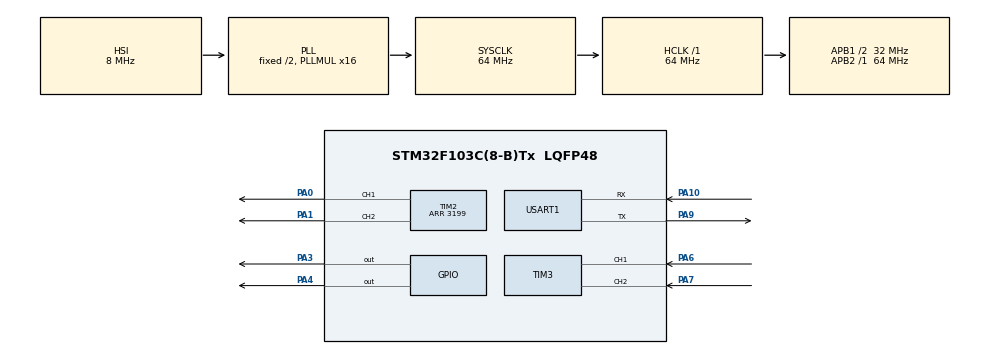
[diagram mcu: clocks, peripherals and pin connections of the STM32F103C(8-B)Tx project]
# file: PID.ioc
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Mcu.Family=STM32F1
Mcu.Name=STM32F103C(8-B)Tx
Mcu.Package=LQFP48
NVIC.PriorityGroup=NVIC_PRIORITYGROUP_4
NVIC.TIM4_IRQn=true\:1\:0\:true\:false\:true\:true\:true\:true
NVIC.USART1_IRQn=true\:2\:0\:true\:false\:true\:true\:true\:true
PA0-WKUP.Signal=S_TIM2_CH1_ETR
PA1.Signal=S_TIM2_CH2
PA10.Mode=Asynchronous
PA10.Signal=USART1_RX
PA13.Mode=Serial_Wire
PA13.Signal=SYS_JTMS-SWDIO
PA14.Mode=Serial_Wire
PA14.Signal=SYS_JTCK-SWCLK
PA3.Signal=GPIO_Output
PA4.Signal=GPIO_Output
PA6.Signal=S_TIM3_CH1
PA7.Signal=S_TIM3_CH2
PA9.Mode=Asynchronous
PA9.Signal=USART1_TX
ProjectManager.HeapSize=0x200
ProjectManager.StackSize=0x400
ProjectManager.TargetToolchain=STM32CubeIDE
RCC.AHBFreq_Value=64000000
RCC.APB1CLKDivider=RCC_HCLK_DIV2
RCC.APB1Freq_Value=32000000
RCC.APB1TimFreq_Value=64000000
RCC.APB2Freq_Value=64000000
RCC.APB2TimFreq_Value=64000000
RCC.HCLKFreq_Value=64000000
RCC.PLLMUL=RCC_PLL_MUL16
RCC.SYSCLKFreq_VALUE=64000000
RCC.SYSCLKSource=RCC_SYSCLKSOURCE_PLLCLK
RCC.USBFreq_Value=64000000
SH.S_TIM2_CH1_ETR.0=TIM2_CH1,PWM Generation1 CH1
SH.S_TIM2_CH2.0=TIM2_CH2,PWM Generation2 CH2
SH.S_TIM3_CH1.0=TIM3_CH1,Encoder_Interface
SH.S_TIM3_CH2.0=TIM3_CH2,Encoder_Interface
TIM2.Channel-PWM\ Generation1\ CH1=TIM_CHANNEL_1
TIM2.Channel-PWM\ Generation2\ CH2=TIM_CHANNEL_2
TIM2.Period=3199
TIM3.EncoderMode=TIM_ENCODERMODE_TI12
TIM4.Period=99
TIM4.Prescaler=6399
USART1.VirtualMode=VM_ASYNC
VP_TIM2_VS_ClockSourceINT.Mode=Internal
VP_TIM4_VS_ClockSourceINT.Mode=Internal
board=custom

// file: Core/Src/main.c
/* USER CODE BEGIN Header */
/**
  ******************************************************************************
  * @file           : main.c
  * @brief          : Main program body
  ******************************************************************************
  * @attention
  *
  * Copyright (c) 2026 STMicroelectronics.
  * All rights reserved.
  *
  * This software is licensed under terms that can be found in the LICENSE file
  * in the root directory of this software component.
  * If no LICENSE file comes with this software, it is provided AS-IS.
  *
  ******************************************************************************
  */
/* USER CODE END Header */
#include "main.h"
#include "stdlib.h"
#include "stdio.h"
#include "string.h"

TIM_HandleTypeDef htim2;
TIM_HandleTypeDef htim3;
TIM_HandleTypeDef htim4;

UART_HandleTypeDef huart1;

/* USER CODE BEGIN PV */
typedef struct {
    float Kp, Ki, Kd;
    float integral;
    float prev_error;
    float integral_limit;
    float output_limit;
} PID_t;

PID_t motor_pid;

volatile float target_rpm  = 0.0f;
volatile float current_rpm = 0.0f;

static uint8_t send_tick = 0;

static uint8_t  rx_byte;                // buffer 1 byte cho HAL_UART_Receive_IT
static char     rx_line[64];            // tích lũy từng ký tự
static uint8_t  rx_idx = 0;            // con trỏ vào rx_line

#define ENCODER_PPR  330
#define PID_DT       0.01f    // 10ms

/* USER CODE END PV */

void SystemClock_Config(void);
static void MX_GPIO_Init(void);
static void MX_TIM2_Init(void);
static void MX_TIM3_Init(void);
static void MX_USART1_UART_Init(void);
static void MX_TIM4_Init(void);

/* USER CODE BEGIN 0 */
#define MAX_RPM 333
#define PWM_MAX 3199

void setMotorRPM(int rpm)
{
    if (rpm > MAX_RPM) rpm = MAX_RPM;
    if (rpm < -MAX_RPM) rpm = -MAX_RPM;

    int pwm = (abs(rpm) * PWM_MAX) / MAX_RPM;

    if (rpm > 0)		// quay thuan chieu
    {
        __HAL_TIM_SET_COMPARE(&htim2, TIM_CHANNEL_1, pwm);
        __HAL_TIM_SET_COMPARE(&htim2, TIM_CHANNEL_2, 0);
    }
    else if (rpm < 0)	// quay nguoc chieu
    {
        __HAL_TIM_SET_COMPARE(&htim2, TIM_CHANNEL_1, 0);
        __HAL_TIM_SET_COMPARE(&htim2, TIM_CHANNEL_2, pwm);
    }
    else
    {
        __HAL_TIM_SET_COMPARE(&htim2, TIM_CHANNEL_1, 0);
        __HAL_TIM_SET_COMPARE(&htim2, TIM_CHANNEL_2, 0);
    }
}

void PID_Init(PID_t *pid, float Kp, float Ki, float Kd,
              float integral_limit, float output_limit)
{
    pid->Kp             = Kp;
    pid->Ki             = Ki;
    pid->Kd             = Kd;
    pid->integral       = 0.0f;
    pid->prev_error     = 0.0f;
    pid->integral_limit = integral_limit;
    pid->output_limit   = output_limit;
}

float PID_Compute(PID_t *pid, float error, float dt)
{
	// Phan P
    float P = pid->Kp * error;

    // Phan I
    pid->integral += error * dt;
    if (pid->integral >  pid->integral_limit)
    	pid->integral =  pid->integral_limit;
    else if (pid->integral < -pid->integral_limit)
    	pid->integral = -pid->integral_limit;
    float I = pid->Ki * pid->integral;

    // Phan D
    float D = pid->Kd * (error - pid->prev_error) / dt;
    pid->prev_error = error;

    float output = P + I + D;
    if      (output >  pid->output_limit) output =  pid->output_limit;
    else if (output < -pid->output_limit) output = -pid->output_limit;

    return output;
}

/* ── Đọc encoder → RPM ──────────────────────────────────────────────────── */
float Encoder_ReadRPM(void)
{
    // TIM3 Encoder Mode TI12: đếm cả 2 cạnh A và B → ×4
    int16_t count = (int16_t)__HAL_TIM_GET_COUNTER(&htim3);
    __HAL_TIM_SET_COUNTER(&htim3, 0);

    // count = số xung trong 10ms
    // RPM = (count / (PPR×4)) / dt * 60
    return ((float)count / (ENCODER_PPR * 4)) / PID_DT * 60.0f;
}

static void UART_ParseLine(char *line)
{
//    char *colon = strchr(line, ':');
//    if (colon == NULL) return;
//
//    *colon       = '\0';
//    char  *tag   = line;
//    float  value = (float)atof(colon + 1);
//
//    char ack[48];
//    int  ack_len = 0;
//
//    if (strcasecmp(tag, "SP") == 0)
//    {
//        /* Clamp về dải an toàn */
//        if (value >  MAX_RPM) value =  MAX_RPM;
//        if (value < -MAX_RPM) value = -MAX_RPM;
//        target_rpm = value;
//        ack_len = sprintf(ack, "OK SP:%d\n", target_rpm);
//    }
//    else
//    {
//        /* Từ chối mọi lệnh khác — Kp/Ki/Kd cố định trong firmware */
//        ack_len = sprintf(ack, "ERR only SP accepted\n");
//    }
//
//    if (ack_len > 0)
//        HAL_UART_Transmit(&huart1, (uint8_t *)ack, ack_len, 20);
	int val;

	    // In ra để xem thực tế nhận gì
	    printf("PARSE: [%s]\n", line);

	    // Cách parse chắc chắn đúng
	    if (strncmp(line, "SP:", 3) == 0)
	    {
	        val = atoi(&line[3]);   // lấy từ sau "SP:"
	        target_rpm = val;

	        printf("OK SP:%d\n", val);
	    }
}

void HAL_UART_RxCpltCallback(UART_HandleTypeDef *huart)
{
    if (huart == &huart1)
    {
        char c = (char)rx_byte;

        if (c == '\n' || c == '\r')
        {
            if (rx_idx > 0)
            {
                rx_line[rx_idx] = '\0';
                UART_ParseLine(rx_line);
                rx_idx = 0;
                memset(rx_line, 0, sizeof(rx_line));
            }
        }
        else
        {
            if (rx_idx < sizeof(rx_line) - 1)
                rx_line[rx_idx++] = c;
            else
                rx_idx = 0;   // tràn buffer → reset
        }

        HAL_UART_Receive_IT(&huart1, &rx_byte, 1);
    }
}
/* USER CODE END 0 */

int main(void)
{

  /* MCU Configuration--------------------------------------------------------*/

  /* Reset of all peripherals, Initializes the Flash interface and the Systick. */
  HAL_Init();

  /* Configure the system clock */
  SystemClock_Config();

  /* Initialize all configured peripherals */
  MX_GPIO_Init();
  MX_TIM2_Init();
  MX_TIM3_Init();
  MX_USART1_UART_Init();
  MX_TIM4_Init();
  /* USER CODE BEGIN 2 */
  HAL_TIM_PWM_Start(&htim2, TIM_CHANNEL_1); // RPWM
  HAL_TIM_PWM_Start(&htim2, TIM_CHANNEL_2); // LPWM
  HAL_GPIO_WritePin(GPIOA, GPIO_PIN_3, GPIO_PIN_SET);
  HAL_GPIO_WritePin(GPIOA, GPIO_PIN_4, GPIO_PIN_SET);

  // Khởi động encoder
  HAL_TIM_Encoder_Start(&htim3, TIM_CHANNEL_ALL);

  // Khởi PID — output_limit = MAX_RPM (đơn vị RPM)
      PID_Init(&motor_pid,
          /* Kp */ 4.0f,
          /* Ki */ 5.0f,
          /* Kd */ 0.05f,
          666.0f,   // max_integral = Max_rpm / Ki
          333.0f);  // MAX_RPM

      // Bắt đầu nhận UART interrupt

      HAL_NVIC_SetPriority(TIM4_IRQn, 0, 0);
      HAL_NVIC_EnableIRQ(TIM4_IRQn);
      HAL_TIM_Base_Start_IT(&htim4);
      HAL_UART_Receive_IT(&huart1, &rx_byte, 1);
  /* USER CODE END 2 */

  /* Infinite loop */
  while (1)
  {

  }
}

void SystemClock_Config(void)
{
  RCC_OscInitTypeDef RCC_OscInitStruct = {0};
  RCC_ClkInitTypeDef RCC_ClkInitStruct = {0};

  /** Initializes the RCC Oscillators according to the specified parameters
  * in the RCC_OscInitTypeDef structure.
  */
  RCC_OscInitStruct.OscillatorType = RCC_OSCILLATORTYPE_HSI;
  RCC_OscInitStruct.HSIState = RCC_HSI_ON;
  RCC_OscInitStruct.HSICalibrationValue = RCC_HSICALIBRATION_DEFAULT;
  RCC_OscInitStruct.PLL.PLLState = RCC_PLL_ON;
  RCC_OscInitStruct.PLL.PLLSource = RCC_PLLSOURCE_HSI_DIV2;
  RCC_OscInitStruct.PLL.PLLMUL = RCC_PLL_MUL16;
  if (HAL_RCC_OscConfig(&RCC_OscInitStruct) != HAL_OK)
  {
    Error_Handler();
  }

  /** Initializes the CPU, AHB and APB buses clocks
  */
  RCC_ClkInitStruct.ClockType = RCC_CLOCKTYPE_HCLK|RCC_CLOCKTYPE_SYSCLK
                              |RCC_CLOCKTYPE_PCLK1|RCC_CLOCKTYPE_PCLK2;
  RCC_ClkInitStruct.SYSCLKSource = RCC_SYSCLKSOURCE_PLLCLK;
  RCC_ClkInitStruct.AHBCLKDivider = RCC_SYSCLK_DIV1;
  RCC_ClkInitStruct.APB1CLKDivider = RCC_HCLK_DIV2;
  RCC_ClkInitStruct.APB2CLKDivider = RCC_HCLK_DIV1;

  if (HAL_RCC_ClockConfig(&RCC_ClkInitStruct, FLASH_LATENCY_2) != HAL_OK)
  {
    Error_Handler();
  }
}

static void MX_TIM2_Init(void)
{

  TIM_ClockConfigTypeDef sClockSourceConfig = {0};
  TIM_MasterConfigTypeDef sMasterConfig = {0};
  TIM_OC_InitTypeDef sConfigOC = {0};

  htim2.Instance = TIM2;
  htim2.Init.Prescaler = 0;
  htim2.Init.CounterMode = TIM_COUNTERMODE_UP;
  htim2.Init.Period = 3199;
  htim2.Init.ClockDivision = TIM_CLOCKDIVISION_DIV1;
  htim2.Init.AutoReloadPreload = TIM_AUTORELOAD_PRELOAD_DISABLE;
  if (HAL_TIM_Base_Init(&htim2) != HAL_OK)
  {
    Error_Handler();
  }
  sClockSourceConfig.ClockSource = TIM_CLOCKSOURCE_INTERNAL;
  if (HAL_TIM_ConfigClockSource(&htim2, &sClockSourceConfig) != HAL_OK)
  {
    Error_Handler();
  }
  if (HAL_TIM_PWM_Init(&htim2) != HAL_OK)
  {
    Error_Handler();
  }
  sMasterConfig.MasterOutputTrigger = TIM_TRGO_RESET;
  sMasterConfig.MasterSlaveMode = TIM_MASTERSLAVEMODE_DISABLE;
  if (HAL_TIMEx_MasterConfigSynchronization(&htim2, &sMasterConfig) != HAL_OK)
  {
    Error_Handler();
  }
  sConfigOC.OCMode = TIM_OCMODE_PWM1;
  sConfigOC.Pulse = 0;
  sConfigOC.OCPolarity = TIM_OCPOLARITY_HIGH;
  sConfigOC.OCFastMode = TIM_OCFAST_DISABLE;
  if (HAL_TIM_PWM_ConfigChannel(&htim2, &sConfigOC, TIM_CHANNEL_1) != HAL_OK)
  {
    Error_Handler();
  }
  if (HAL_TIM_PWM_ConfigChannel(&htim2, &sConfigOC, TIM_CHANNEL_2) != HAL_OK)
  {
    Error_Handler();
  }
  HAL_TIM_MspPostInit(&htim2);

}

static void MX_TIM3_Init(void)
{

  TIM_Encoder_InitTypeDef sConfig = {0};
  TIM_MasterConfigTypeDef sMasterConfig = {0};

  htim3.Instance = TIM3;
  htim3.Init.Prescaler = 0;
  htim3.Init.CounterMode = TIM_COUNTERMODE_UP;
  htim3.Init.Period = 65535;
  htim3.Init.ClockDivision = TIM_CLOCKDIVISION_DIV1;
  htim3.Init.AutoReloadPreload = TIM_AUTORELOAD_PRELOAD_DISABLE;
  sConfig.EncoderMode = TIM_ENCODERMODE_TI12;
  sConfig.IC1Polarity = TIM_ICPOLARITY_RISING;
  sConfig.IC1Selection = TIM_ICSELECTION_DIRECTTI;
  sConfig.IC1Prescaler = TIM_ICPSC_DIV1;
  sConfig.IC1Filter = 0;
  sConfig.IC2Polarity = TIM_ICPOLARITY_RISING;
  sConfig.IC2Selection = TIM_ICSELECTION_DIRECTTI;
  sConfig.IC2Prescaler = TIM_ICPSC_DIV1;
  sConfig.IC2Filter = 0;
  if (HAL_TIM_Encoder_Init(&htim3, &sConfig) != HAL_OK)
  {
    Error_Handler();
  }
  sMasterConfig.MasterOutputTrigger = TIM_TRGO_RESET;
  sMasterConfig.MasterSlaveMode = TIM_MASTERSLAVEMODE_DISABLE;
  if (HAL_TIMEx_MasterConfigSynchronization(&htim3, &sMasterConfig) != HAL_OK)
  {
    Error_Handler();
  }

}

static void MX_TIM4_Init(void)
{

  TIM_ClockConfigTypeDef sClockSourceConfig = {0};
  TIM_MasterConfigTypeDef sMasterConfig = {0};

  htim4.Instance = TIM4;
  htim4.Init.Prescaler = 6399;
  htim4.Init.CounterMode = TIM_COUNTERMODE_UP;
  htim4.Init.Period = 99;
  htim4.Init.ClockDivision = TIM_CLOCKDIVISION_DIV1;
  htim4.Init.AutoReloadPreload = TIM_AUTORELOAD_PRELOAD_DISABLE;
  if (HAL_TIM_Base_Init(&htim4) != HAL_OK)
  {
    Error_Handler();
  }
  sClockSourceConfig.ClockSource = TIM_CLOCKSOURCE_INTERNAL;
  if (HAL_TIM_ConfigClockSource(&htim4, &sClockSourceConfig) != HAL_OK)
  {
    Error_Handler();
  }
  sMasterConfig.MasterOutputTrigger = TIM_TRGO_RESET;
  sMasterConfig.MasterSlaveMode = TIM_MASTERSLAVEMODE_DISABLE;
  if (HAL_TIMEx_MasterConfigSynchronization(&htim4, &sMasterConfig) != HAL_OK)
  {
    Error_Handler();
  }
  /* USER CODE BEGIN TIM4_Init 2 */
  HAL_NVIC_SetPriority(TIM4_IRQn, 0, 0);
  HAL_NVIC_EnableIRQ(TIM4_IRQn);
  /* USER CODE END TIM4_Init 2 */

}

static void MX_USART1_UART_Init(void)
{

  huart1.Instance = USART1;
  huart1.Init.BaudRate = 115200;
  huart1.Init.WordLength = UART_WORDLENGTH_8B;
  huart1.Init.StopBits = UART_STOPBITS_1;
  huart1.Init.Parity = UART_PARITY_NONE;
  huart1.Init.Mode = UART_MODE_TX_RX;
  huart1.Init.HwFlowCtl = UART_HWCONTROL_NONE;
  huart1.Init.OverSampling = UART_OVERSAMPLING_16;
  if (HAL_UART_Init(&huart1) != HAL_OK)
  {
    Error_Handler();
  }
  /* USER CODE BEGIN USART1_Init 2 */
  HAL_NVIC_SetPriority(USART1_IRQn, 1, 0);
  HAL_NVIC_EnableIRQ(USART1_IRQn);
  /* USER CODE END USART1_Init 2 */

}

static void MX_GPIO_Init(void)
{
  GPIO_InitTypeDef GPIO_InitStruct = {0};

  /* GPIO Ports Clock Enable */
  __HAL_RCC_GPIOA_CLK_ENABLE();

  /*Configure GPIO pin Output Level */
  HAL_GPIO_WritePin(GPIOA, GPIO_PIN_3|GPIO_PIN_4, GPIO_PIN_RESET);

  /*Configure GPIO pins : PA3 PA4 */
  GPIO_InitStruct.Pin = GPIO_PIN_3|GPIO_PIN_4;
  GPIO_InitStruct.Mode = GPIO_MODE_OUTPUT_PP;
  GPIO_InitStruct.Pull = GPIO_NOPULL;
  GPIO_InitStruct.Speed = GPIO_SPEED_FREQ_LOW;
  HAL_GPIO_Init(GPIOA, &GPIO_InitStruct);

}

/* USER CODE BEGIN 4 */

/* ── Callback TIM4 ngắt 10ms — vòng lặp PID chính ─────────────────────── */
void HAL_TIM_PeriodElapsedCallback(TIM_HandleTypeDef *htim)
{
	if (htim == &htim4)
	    {
	        current_rpm = Encoder_ReadRPM();

	        float error  = target_rpm - current_rpm;
	        float output = PID_Compute(&motor_pid, error, PID_DT);
	        setMotorRPM((int)output);

	        if (++send_tick >= 10)
	        {
	            send_tick = 0;
	            char tx_buf[80];
	            int kp = (int)(motor_pid.Kp * 100);
	            int ki = (int)(motor_pid.Ki * 100);
	            int kd = (int)(motor_pid.Kd * 1000);
	            int  len = sprintf(tx_buf,
	                               "RPM:%d,SP:%d,KP:%d,KI:%d,KD:%d\n",
	                               (int)current_rpm,
	                               (int)target_rpm,
	                                kp,
	                                ki,
	                                kd);
	            HAL_UART_Transmit(&huart1, (uint8_t *)tx_buf, len, 20);
	        }
	    }

}

/* USER CODE END 4 */

void Error_Handler(void)
{
  __disable_irq();
  while (1)
  {
  }
}
